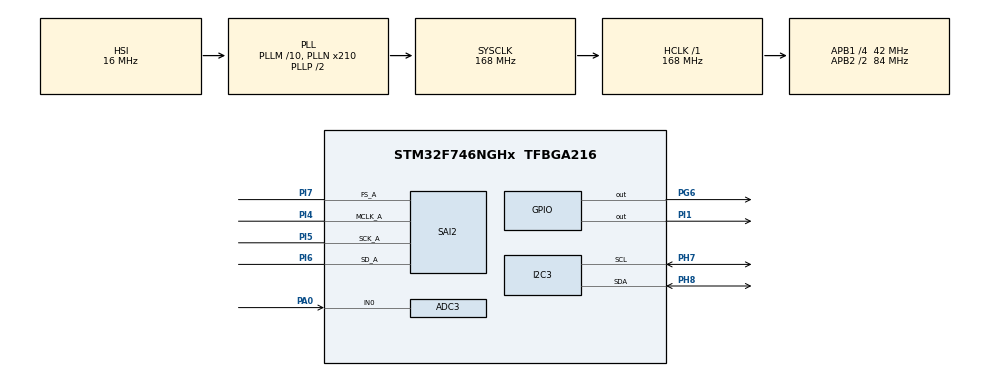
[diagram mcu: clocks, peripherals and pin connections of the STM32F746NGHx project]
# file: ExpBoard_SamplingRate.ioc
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ADC3.Channel-2\#ChannelRegularConversion=ADC_CHANNEL_0
ADC3.ContinuousConvMode=ENABLE
ADC3.DMAContinuousRequests=ENABLE
ADC3.NbrOfConversion=1
ADC3.NbrOfConversionFlag=1
ADC3.Rank-2\#ChannelRegularConversion=1
ADC3.SamplingTime-2\#ChannelRegularConversion=ADC_SAMPLETIME_144CYCLES
ADC3.ScanConvMode=ENABLE
Dma.ADC3.1.Direction=DMA_PERIPH_TO_MEMORY
Dma.ADC3.1.FIFOMode=DMA_FIFOMODE_DISABLE
Dma.ADC3.1.Instance=DMA2_Stream0
Dma.ADC3.1.MemDataAlignment=DMA_MDATAALIGN_BYTE
Dma.ADC3.1.MemInc=DMA_MINC_ENABLE
Dma.ADC3.1.Mode=DMA_CIRCULAR
Dma.ADC3.1.PeriphDataAlignment=DMA_PDATAALIGN_BYTE
Dma.ADC3.1.PeriphInc=DMA_PINC_DISABLE
Dma.ADC3.1.Priority=DMA_PRIORITY_LOW
Dma.Request0=SAI2_A
Dma.Request1=ADC3
Dma.SAI2_A.0.Direction=DMA_PERIPH_TO_MEMORY
Dma.SAI2_A.0.FIFOMode=DMA_FIFOMODE_ENABLE
Dma.SAI2_A.0.FIFOThreshold=DMA_FIFO_THRESHOLD_FULL
Dma.SAI2_A.0.Instance=DMA2_Stream4
Dma.SAI2_A.0.MemBurst=DMA_MBURST_SINGLE
Dma.SAI2_A.0.MemDataAlignment=DMA_MDATAALIGN_WORD
Dma.SAI2_A.0.MemInc=DMA_MINC_ENABLE
Dma.SAI2_A.0.Mode=DMA_CIRCULAR
Dma.SAI2_A.0.PeriphBurst=DMA_PBURST_SINGLE
Dma.SAI2_A.0.PeriphDataAlignment=DMA_PDATAALIGN_WORD
Dma.SAI2_A.0.PeriphInc=DMA_PINC_DISABLE
Dma.SAI2_A.0.Priority=DMA_PRIORITY_HIGH
I2C3.Timing=0x00A0A3F7
Mcu.Family=STM32F7
Mcu.Name=STM32F746NGHx
Mcu.Package=TFBGA216
NVIC.DMA2_Stream0_IRQn=true\:0\:0\:true\:false\:true\:false\:true
NVIC.DMA2_Stream4_IRQn=true\:0\:0\:false\:false\:true\:false\:true
NVIC.I2C3_ER_IRQn=true\:1\:0\:true\:false\:true\:true\:true
NVIC.I2C3_EV_IRQn=true\:1\:0\:true\:false\:true\:true\:true
NVIC.PriorityGroup=NVIC_PRIORITYGROUP_4
NVIC.SAI2_IRQn=true\:0\:0\:true\:false\:true\:true\:true
PA0/WKUP.Signal=ADCx_IN0
PA13.Mode=Serial_Wire
PA13.Signal=SYS_JTMS-SWDIO
PA14.Mode=Serial_Wire
PA14.Signal=SYS_JTCK-SWCLK
PG6.Signal=GPIO_Output
PH7.Mode=I2C
PH7.Signal=I2C3_SCL
PH8.Mode=I2C
PH8.Signal=I2C3_SDA
PI1.Signal=GPIO_Output
PI4.GPIO_Speed=GPIO_SPEED_FREQ_HIGH
PI4.Mode=SAI_A_MasterWithClock
PI4.Signal=SAI2_MCLK_A
PI5.GPIO_Speed=GPIO_SPEED_FREQ_HIGH
PI5.Mode=SAI_A_MasterWithClock
PI5.Signal=SAI2_SCK_A
PI6.GPIO_Speed=GPIO_SPEED_FREQ_HIGH
PI6.Mode=SAI_A_MasterWithClock
PI6.Signal=SAI2_SD_A
PI7.GPIO_Speed=GPIO_SPEED_FREQ_HIGH
PI7.Mode=SAI_A_MasterWithClock
PI7.Signal=SAI2_FS_A
ProjectManager.HeapSize=0x200
ProjectManager.StackSize=0x400
ProjectManager.TargetToolchain=SW4STM32
RCC.AHBFreq_Value=168000000
RCC.APB1CLKDivider=RCC_HCLK_DIV4
RCC.APB1Freq_Value=42000000
RCC.APB1TimFreq_Value=84000000
RCC.APB2CLKDivider=RCC_HCLK_DIV2
RCC.APB2Freq_Value=84000000
RCC.APB2TimFreq_Value=168000000
RCC.CortexFreq_Value=168000000
RCC.HCLKFreq_Value=168000000
RCC.HSE_VALUE=25000000
RCC.HSI_VALUE=16000000
RCC.LSE_VALUE=32768
RCC.PLLM=10
RCC.PLLN=210
RCC.PLLSourceVirtual=RCC_PLLSOURCE_HSI
RCC.SYSCLKFreq_VALUE=168000000
RCC.SYSCLKSource=RCC_SYSCLKSOURCE_PLLCLK
RCC.USBFreq_Value=168000000
RCC.VCOOutputFreq_Value=336000000
SAI2.AudioFrequency-SAI_A_MasterWithClock=SAI_AUDIO_FREQUENCY_44K
SAI2.AudioMode-SAI_A_MasterWithClock=SAI_MODEMASTER_RX
SAI2.BasicProtocol-SAI_A_MasterWithClock=SAI_PCM_SHORT
SAI2.ErrorAudioFreq-SAI_A_MasterWithClock=56.25 %
SAI2.FIFOThreshold-SAI_A_MasterWithClock=SAI_FIFOTHRESHOLD_FULL
SAI2.InitProtocol-SAI_A_MasterWithClock=Enable
SAI2.Instance-SAI_A_MasterWithClock=SAI$Index_Block_A
SAI2.MClockEnable-SAI_A_MasterWithClock=SAI_MASTERCLOCK_ENABLE
SAI2.NoDivider-SAI_A_MasterWithClock=SAI_MASTERDIVIDER_ENABLE
SAI2.RealAudioFreq-SAI_A_MasterWithClock=300.0 KHz
SAI2.VirtualMode-SAI_A_MasterWithClock=VM_MASTER
SAI2.VirtualProtocol-SAI_A_BASIC=VM_BASIC_PROTOCOL
SH.ADCx_IN0.0=ADC3_IN0,IN0
VP_SAI2_VP_$IpInstance_SAIA_SAI_BASIC.Mode=SAI_A_BASIC
board=32F746GDISCOVERY

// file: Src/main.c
/* USER CODE BEGIN Header */
/**
  ******************************************************************************
  * @file           : main.c
  * @brief          : Main program body
  ******************************************************************************
  * @attention
  *
  * <h2><center>&copy; Copyright (c) 2019 STMicroelectronics.
  * All rights reserved.</center></h2>
  *
  * This software component is licensed by ST under BSD 3-Clause license,
  * the "License"; You may not use this file except in compliance with the
  * License. You may obtain a copy of the License at:
  *                        opensource.org/licenses/BSD-3-Clause
  *
  ******************************************************************************
  */
/* USER CODE END Header */

#include "main.h"
#include "adc.h"
#include "dma.h"
#include "gfxsimulator.h"
#include "i2c.h"
#include "sai.h"
#include "gpio.h"

/* USER CODE BEGIN Includes */

#include "stm32746g_discovery.h"
#include "stm32f7xx_hal_i2s.h"
#include "stm32746g_discovery_audio.h";

#define AUDIO_IN_PCM_BUFFER_SIZE                   4*2304 /* buffer size in half-word */

/* USER CODE END Includes */

/* USER CODE BEGIN PV */
typedef enum
{
    BUFFER_OFFSET_NONE = 0,
    BUFFER_OFFSET_HALF = 1,
    BUFFER_OFFSET_FULL = 2,
} BUFFER_StateTypeDef;

#define RECORD_BUFFER_SIZE  4096

SAI_HandleTypeDef haudio_out_sai, haudio_in_sai;

volatile uint32_t  audio_rec_buffer_state;
volatile uint32_t  audio_tx_buffer_state = 0;

/* Buffer containing the PCM samples coming from the microphone */
int16_t RecordBuffer[RECORD_BUFFER_SIZE];

/* Buffer used to stream the recorded PCM samples towards the audio codec. */
int16_t PlaybackBuffer[RECORD_BUFFER_SIZE];

static AUDIO_DrvTypeDef  *audio_drv;

uint8_t audioIsOk;
uint16_t leftSample, rightSample;
static uint16_t pcm_buff[AUDIO_IN_PCM_BUFFER_SIZE];

/* USER CODE END PV */

void SystemClock_Config(void);

/* USER CODE BEGIN 0 */

//static void CopyBuffer(int16_t *pbuffer1, int16_t *pbuffer2, uint16_t BufferSize);

static void CopyBuffer(int16_t *pbuffer1, int16_t *pbuffer2, uint16_t BufferSize);
static uint8_t EBM_AUDIO_IN_OUT_Init(uint32_t AudioFreq);
static uint8_t _BSP_AUDIO_OUT_Play(uint16_t* pBuffer, uint32_t Size);
void get_max_val(int16_t *buf, uint32_t size, int16_t amp[]);
void AUDIO_LOOPBACK(void);
static void SAI_AUDIO_IN_MspInit(SAI_HandleTypeDef *hsai, void *Params);
static void SAIx_In_Init(uint32_t AudioFreq);
static void SAIx_In_DeInit(void);
/* USER CODE END 0 */

int main(void)
{

  /* MCU Configuration--------------------------------------------------------*/

  /* Reset of all peripherals, Initializes the Flash interface and the Systick. */
  HAL_Init();

  /* Configure the system clock */
  SystemClock_Config();

  /* Initialize all configured peripherals */
  MX_GPIO_Init();
  MX_DMA_Init();
  MX_I2C3_Init();
  MX_SAI2_Init();
  MX_GFXSIMULATOR_Init();
  MX_ADC3_Init();
  /* USER CODE BEGIN 2 */

  BSP_AUDIO_IN_Init(BSP_AUDIO_FREQUENCY_44K, DEFAULT_AUDIO_IN_BIT_RESOLUTION, DEFAULT_AUDIO_IN_CHANNEL_NBR);
  audioIsOk = BSP_AUDIO_OUT_Init(OUTPUT_DEVICE_HEADPHONE, 50, BSP_AUDIO_FREQUENCY_44K);

  AUDIO_LOOPBACK();
  //init for the PLL, SAI and WM8994
  //BSP_AUDIO_IN_InitEx(INPUT_DEVICE_INPUT_LINE_1, I2S_AUDIOFREQ_44K, DEFAULT_AUDIO_IN_BIT_RESOLUTION, DEFAULT_AUDIO_IN_CHANNEL_NBR);

  /* USER CODE END 2 */

  /* Infinite loop */
  /* USER CODE BEGIN WHILE */
  while (1)
  {
	  if(audioIsOk == AUDIO_OK){
		 HAL_GPIO_TogglePin(GPIOG, GPIO_PIN_6);
		 HAL_Delay(100);

	  }else{
		  //error happend
		  HAL_GPIO_WritePin(GPIOG, GPIO_PIN_6, GPIO_PIN_SET);

	  }
    /* USER CODE END WHILE */

  }
}

void SystemClock_Config(void)
{
  RCC_OscInitTypeDef RCC_OscInitStruct = {0};
  RCC_ClkInitTypeDef RCC_ClkInitStruct = {0};
  RCC_PeriphCLKInitTypeDef PeriphClkInitStruct = {0};

  /** Configure the main internal regulator output voltage
  */
  __HAL_RCC_PWR_CLK_ENABLE();
  __HAL_PWR_VOLTAGESCALING_CONFIG(PWR_REGULATOR_VOLTAGE_SCALE2);
  /** Initializes the CPU, AHB and APB busses clocks
  */
  RCC_OscInitStruct.OscillatorType = RCC_OSCILLATORTYPE_HSI;
  RCC_OscInitStruct.HSIState = RCC_HSI_ON;
  RCC_OscInitStruct.HSICalibrationValue = RCC_HSICALIBRATION_DEFAULT;
  RCC_OscInitStruct.PLL.PLLState = RCC_PLL_ON;
  RCC_OscInitStruct.PLL.PLLSource = RCC_PLLSOURCE_HSI;
  RCC_OscInitStruct.PLL.PLLM = 10;
  RCC_OscInitStruct.PLL.PLLN = 210;
  RCC_OscInitStruct.PLL.PLLP = RCC_PLLP_DIV2;
  RCC_OscInitStruct.PLL.PLLQ = 2;
  if (HAL_RCC_OscConfig(&RCC_OscInitStruct) != HAL_OK)
  {
    Error_Handler();
  }
  /** Initializes the CPU, AHB and APB busses clocks
  */
  RCC_ClkInitStruct.ClockType = RCC_CLOCKTYPE_HCLK|RCC_CLOCKTYPE_SYSCLK
                              |RCC_CLOCKTYPE_PCLK1|RCC_CLOCKTYPE_PCLK2;
  RCC_ClkInitStruct.SYSCLKSource = RCC_SYSCLKSOURCE_PLLCLK;
  RCC_ClkInitStruct.AHBCLKDivider = RCC_SYSCLK_DIV1;
  RCC_ClkInitStruct.APB1CLKDivider = RCC_HCLK_DIV4;
  RCC_ClkInitStruct.APB2CLKDivider = RCC_HCLK_DIV2;

  if (HAL_RCC_ClockConfig(&RCC_ClkInitStruct, FLASH_LATENCY_5) != HAL_OK)
  {
    Error_Handler();
  }
  PeriphClkInitStruct.PeriphClockSelection = RCC_PERIPHCLK_SAI2|RCC_PERIPHCLK_I2C3;
  PeriphClkInitStruct.PLLSAI.PLLSAIN = 192;
  PeriphClkInitStruct.PLLSAI.PLLSAIR = 2;
  PeriphClkInitStruct.PLLSAI.PLLSAIQ = 2;
  PeriphClkInitStruct.PLLSAI.PLLSAIP = RCC_PLLSAIP_DIV2;
  PeriphClkInitStruct.PLLSAIDivQ = 1;
  PeriphClkInitStruct.PLLSAIDivR = RCC_PLLSAIDIVR_2;
  PeriphClkInitStruct.Sai2ClockSelection = RCC_SAI2CLKSOURCE_PLLSAI;
  PeriphClkInitStruct.I2c3ClockSelection = RCC_I2C3CLKSOURCE_PCLK1;
  if (HAL_RCCEx_PeriphCLKConfig(&PeriphClkInitStruct) != HAL_OK)
  {
    Error_Handler();
  }
}

/* USER CODE BEGIN 4 */

/* ISR Handlers */
void DMA2_Stream4_IRQHandler(void)
{
 HAL_DMA_IRQHandler(haudio_in_sai.hdmarx);
 }

void DMA2_Stream1_IRQHandler(void)
{
 HAL_DMA_IRQHandler(haudio_out_sai.hdmatx);
}

/*
 * get maximum value of the buffer. VU meter, perhaps?
 */
void get_max_val(int16_t *buf, uint32_t size, int16_t amp[])
{
    int16_t maxval[4] = { -32768, -32768, -32768, -32768};
    uint32_t idx;
    for (idx = 0 ; idx < size ; idx += 4) {
        if (buf[idx] > maxval[0])
            maxval[0] = buf[idx];
        if (buf[idx + 1] > maxval[1])
            maxval[1] = buf[idx + 1];
        if (buf[idx + 2] > maxval[2])
            maxval[2] = buf[idx + 2];
        if (buf[idx + 3] > maxval[3])
            maxval[3] = buf[idx + 3];
    }
    memcpy(amp, maxval, sizeof(maxval));
}

void AUDIO_LOOPBACK(void)
     {
         int16_t amp[4];

         /* Initialize Audio Recorder with 4 channels to be used */
         if (EBM_AUDIO_IN_OUT_Init(BSP_AUDIO_FREQUENCY_44K) == AUDIO_OK)
         {
        	 printf("Audio I/O initialization OK\r\n");
         } else {
        	 printf("Audio I/O initialization failed.\r\n");
         }

         /* Start Recording */
         HAL_StatusTypeDef res = HAL_SAI_Receive_DMA(&haudio_in_sai, (uint8_t*)RecordBuffer, RECORD_BUFFER_SIZE);
         if (HAL_OK == res)
         {
        	 printf("SAI receive begin OK\r\n");
         } else {
             printf("SAI receive error: %d\r\n", res);
         }

         printf("Copying Record buffer to Playback buffer\r\n");

         /* Play the recorded buffer */
         if (_BSP_AUDIO_OUT_Play((uint16_t *) &PlaybackBuffer[0], RECORD_BUFFER_SIZE) == AUDIO_OK)
         {
        	 printf("Audio output OK\r\n");
         } else {
        	 printf("Audio output error\r\n");
     	 }
         printf("\r\n");

         audio_rec_buffer_state = BUFFER_OFFSET_NONE;
         while (1)
         {
             /* 1st or 2nd half of the record buffer ready for being copied
             to the Playback buffer */
             if (audio_rec_buffer_state != BUFFER_OFFSET_NONE)
             {
                 /* Copy half of the record buffer to the playback buffer */
                 if (audio_rec_buffer_state == BUFFER_OFFSET_HALF)
                 {
                     get_max_val(RecordBuffer, RECORD_BUFFER_SIZE / 2, amp);
                     CopyBuffer(&PlaybackBuffer[0], &RecordBuffer[0], RECORD_BUFFER_SIZE / 2);
                 } else {
                	 /* if(audio_rec_buffer_state == BUFFER_OFFSET_FULL)*/
                     CopyBuffer(&PlaybackBuffer[RECORD_BUFFER_SIZE / 2],
                    		      &RecordBuffer[RECORD_BUFFER_SIZE / 2],
								                RECORD_BUFFER_SIZE / 2);
                 }
                 /* Wait for next data */
                 audio_rec_buffer_state = BUFFER_OFFSET_NONE;
             }
             if (audio_tx_buffer_state)
             {
                 audio_tx_buffer_state = 0;
             }
         } // end while(1)
     } // end AUDIO_LOOPBACK

static uint8_t EBM_AUDIO_IN_OUT_Init(uint32_t AudioFreq)
     {
         uint8_t ret = AUDIO_ERROR;

         /* Disable SAI */
         SAIx_In_DeInit();

         /* PLL clock is set depending by the AudioFreq (44.1khz vs 48khz groups) */
         BSP_AUDIO_OUT_ClockConfig(&haudio_in_sai, AudioFreq, NULL);
         haudio_out_sai.Instance = AUDIO_OUT_SAIx;
         haudio_in_sai.Instance = AUDIO_IN_SAIx;
         if (HAL_SAI_GetState(&haudio_in_sai) == HAL_SAI_STATE_RESET)
         {
             BSP_AUDIO_OUT_MspInit(&haudio_out_sai, NULL);
             SAI_AUDIO_IN_MspInit(&haudio_in_sai, NULL);
         }

         SAIx_In_Init(AudioFreq); // inclu déja le code de SAIx_Out_Init()

         if ((wm8994_drv.ReadID(AUDIO_I2C_ADDRESS)) == WM8994_ID)
         {
             /* Reset the Codec Registers */
             wm8994_drv.Reset(AUDIO_I2C_ADDRESS);
             /* Initialize the audio driver structure */
             audio_drv = &wm8994_drv;
             ret = AUDIO_OK;
         } else {
             ret = AUDIO_ERROR;
         }

         if (ret == AUDIO_OK)
         {
             /* Initialize the codec internal registers */
             audio_drv->Init(AUDIO_I2C_ADDRESS, INPUT_DEVICE_INPUT_LINE_1 | OUTPUT_DEVICE_HEADPHONE , 100, AudioFreq);
         }

         /* Return AUDIO_OK when all operations are correctly done */
         return ret;
     }

/*
 * Cop the contents of the Record buffer to the
 * Playback buffer
 *
 * If you wanted to hook into the signal and do some
 * signal processing, here is a place where you have
 * both buffers available
 *
 */
static void CopyBuffer(int16_t *pbuffer1, int16_t *pbuffer2, uint16_t BufferSize)
{
    uint32_t i = 0;
    for (i = 0; i < BufferSize; i++)
    {
        pbuffer1[i] = pbuffer2[i];
    }
}

void BSP_AUDIO_OUT_HalfTransfer_CallBack(void)
{
    audio_tx_buffer_state = 1;
}

/**
  * @brief Manages the DMA Transfer complete interrupt.
  * @param None
  * @retval None
  */
void BSP_AUDIO_IN_TransferComplete_CallBack(void)
{
    audio_rec_buffer_state = BUFFER_OFFSET_FULL;
}

/**
  * @brief  Manages the DMA Half Transfer complete interrupt.
  * @param  None
  * @retval None
  */
void BSP_AUDIO_IN_HalfTransfer_CallBack(void)
{
    audio_rec_buffer_state = BUFFER_OFFSET_HALF;
}

/**
  * @brief  Audio IN Error callback function.
  * @param  None
  * @retval None
  */
void BSP_AUDIO_IN_Error_CallBack(void)
{
    /* This function is called when an Interrupt due to transfer error on or peripheral
       error occurs. */
    /* Display message on the LCD screen */
    //BSP_LCD_SetBackColor(LCD_COLOR_RED);
    //BSP_LCD_DisplayStringAt(0, LINE(14), (uint8_t *)"       DMA  ERROR     ", CENTER_MODE);

    /* Stop the program with an infinite loop */

	 /*
    while (BSP_PB_GetState(BUTTON_WAKEUP) != RESET)
    {
        return;
    }
    */

    /* could also generate a system reset to recover from the error */
    /* .... */
}

static uint8_t _BSP_AUDIO_OUT_Play(uint16_t* pBuffer, uint32_t Size)
{
    /* Call the audio Codec Play function */
    if (audio_drv->Play(AUDIO_I2C_ADDRESS, (uint16_t *)pBuffer, Size) != 0)
    {
        return AUDIO_ERROR;
    }
    else
    {
        /* Update the Media layer and enable it for play */
        //if (HAL_SAI_Transmit_DMA(&haudio_out_sai, (uint8_t*) pBuffer, DMA_MAX(Size / AUDIODATA_SIZE)) !=  HAL_OK)
        if (HAL_SAI_Transmit_DMA(&haudio_out_sai, (uint8_t*) pBuffer, Size) !=  HAL_OK)
            return AUDIO_ERROR;
        return AUDIO_OK;
    }
}

/**
 * @brief  Starts playing audio stream from a data buffer for a determined size.
 * @param  pBuffer: Pointer to the buffer
 * @param  Size: Number of audio data BYTES.
 * @retval AUDIO_OK if correct communication, else wrong communication
 */
    static void SAIx_In_Init(uint32_t AudioFreq)
    {
        /* Initialize SAI1 block A in MASTER TX */
        /* Initialize the haudio_out_sai Instance parameter */
        haudio_out_sai.Instance = AUDIO_OUT_SAIx;

        /* Disable SAI peripheral to allow access to SAI internal registers */
        __HAL_SAI_DISABLE(&haudio_out_sai);

        /* Configure SAI_Block_x */
        haudio_out_sai.Init.MonoStereoMode = SAI_STEREOMODE;
        haudio_out_sai.Init.AudioFrequency = AudioFreq;
        haudio_out_sai.Init.AudioMode      = SAI_MODEMASTER_TX;
        haudio_out_sai.Init.NoDivider      = SAI_MASTERDIVIDER_ENABLE;
        haudio_out_sai.Init.Protocol       = SAI_FREE_PROTOCOL;
        haudio_out_sai.Init.DataSize       = SAI_DATASIZE_16;
        haudio_out_sai.Init.FirstBit       = SAI_FIRSTBIT_MSB;
        haudio_out_sai.Init.ClockStrobing  = SAI_CLOCKSTROBING_FALLINGEDGE;
        haudio_out_sai.Init.Synchro        = SAI_ASYNCHRONOUS;
        haudio_out_sai.Init.OutputDrive    = SAI_OUTPUTDRIVE_ENABLE;
        haudio_out_sai.Init.FIFOThreshold  = SAI_FIFOTHRESHOLD_1QF;
        haudio_out_sai.Init.SynchroExt     = SAI_SYNCEXT_DISABLE;
        haudio_out_sai.Init.CompandingMode = SAI_NOCOMPANDING;
        haudio_out_sai.Init.TriState       = SAI_OUTPUT_NOTRELEASED;
        haudio_out_sai.Init.Mckdiv         = 0;

        /* Configure SAI_Block_x Frame */
        haudio_out_sai.FrameInit.FrameLength       = 64;
        haudio_out_sai.FrameInit.ActiveFrameLength = 32;
        haudio_out_sai.FrameInit.FSDefinition      = SAI_FS_CHANNEL_IDENTIFICATION;
        haudio_out_sai.FrameInit.FSPolarity        = SAI_FS_ACTIVE_LOW;
        haudio_out_sai.FrameInit.FSOffset          = SAI_FS_BEFOREFIRSTBIT;

        /* Configure SAI Block_x Slot */
        haudio_out_sai.SlotInit.FirstBitOffset = 0;
        haudio_out_sai.SlotInit.SlotSize       = SAI_SLOTSIZE_DATASIZE;
        haudio_out_sai.SlotInit.SlotNumber     = 4;
        haudio_out_sai.SlotInit.SlotActive     = CODEC_AUDIOFRAME_SLOT_0123;

        HAL_SAI_Init(&haudio_out_sai);

        /* Initialize SAI1 block B in SLAVE RX synchronous from SAI1 block A */
        /* Initialize the haudio_in_sai Instance parameter */
        haudio_in_sai.Instance = AUDIO_IN_SAIx;

        /* Disable SAI peripheral to allow access to SAI internal registers */
        __HAL_SAI_DISABLE(&haudio_in_sai);

        /* Configure SAI_Block_x */
        haudio_in_sai.Init.MonoStereoMode = SAI_STEREOMODE;
        haudio_in_sai.Init.AudioFrequency = AudioFreq;
        haudio_in_sai.Init.AudioMode      = SAI_MODESLAVE_RX;
        haudio_in_sai.Init.NoDivider      = SAI_MASTERDIVIDER_ENABLE;
        haudio_in_sai.Init.Protocol       = SAI_FREE_PROTOCOL;
        haudio_in_sai.Init.DataSize       = SAI_DATASIZE_16;
        haudio_in_sai.Init.FirstBit       = SAI_FIRSTBIT_MSB;
        haudio_in_sai.Init.ClockStrobing  = SAI_CLOCKSTROBING_FALLINGEDGE;
        haudio_in_sai.Init.Synchro        = SAI_SYNCHRONOUS;
        haudio_in_sai.Init.OutputDrive    = SAI_OUTPUTDRIVE_DISABLE;
        haudio_in_sai.Init.FIFOThreshold  = SAI_FIFOTHRESHOLD_1QF;
        haudio_in_sai.Init.SynchroExt     = SAI_SYNCEXT_DISABLE;
        haudio_in_sai.Init.CompandingMode = SAI_NOCOMPANDING;
        haudio_in_sai.Init.TriState       = SAI_OUTPUT_RELEASED;
        haudio_in_sai.Init.Mckdiv         = 0;

        /* Configure SAI_Block_x Frame */
        haudio_in_sai.FrameInit.FrameLength       = 64;
        haudio_in_sai.FrameInit.ActiveFrameLength = 32;
        haudio_in_sai.FrameInit.FSDefinition      = SAI_FS_CHANNEL_IDENTIFICATION;
        haudio_in_sai.FrameInit.FSPolarity        = SAI_FS_ACTIVE_LOW;
        haudio_in_sai.FrameInit.FSOffset          = SAI_FS_BEFOREFIRSTBIT;

        /* Configure SAI Block_x Slot */
        haudio_in_sai.SlotInit.FirstBitOffset = 0;
        haudio_in_sai.SlotInit.SlotSize       = SAI_SLOTSIZE_DATASIZE;
        haudio_in_sai.SlotInit.SlotNumber     = 4;
        haudio_in_sai.SlotInit.SlotActive     = CODEC_AUDIOFRAME_SLOT_0123;

        HAL_SAI_Init(&haudio_in_sai);

        /* Enable SAI peripheral */
        __HAL_SAI_ENABLE(&haudio_in_sai);

        /* Enable SAI peripheral to generate MCLK */
        __HAL_SAI_ENABLE(&haudio_out_sai);
    }

    /**
      * @brief  Deinitializes the output Audio Codec audio interface (SAI).
      * @retval None
      */
    static void SAIx_In_DeInit(void)
    {
        /* Initialize the haudio_in_sai Instance parameter */
        haudio_in_sai.Instance = AUDIO_IN_SAIx;
        haudio_out_sai.Instance = AUDIO_OUT_SAIx;
        /* Disable SAI peripheral */
        __HAL_SAI_DISABLE(&haudio_in_sai);

        HAL_SAI_DeInit(&haudio_in_sai);
        HAL_SAI_DeInit(&haudio_out_sai);
    }

    /**
      * @brief  Initializes SAI Audio IN MSP.
      * @param  hsai: SAI handle
      * @retval None
      */
    static void SAI_AUDIO_IN_MspInit(SAI_HandleTypeDef *hsai, void *Params)
    {
        static DMA_HandleTypeDef hdma_sai_rx;
        GPIO_InitTypeDef  gpio_init_structure;

        /* Enable SAI clock */
        AUDIO_IN_SAIx_CLK_ENABLE();

        /* Enable SD GPIO clock */
        AUDIO_IN_SAIx_SD_ENABLE();
        /* CODEC_SAI pin configuration: SD pin */
        gpio_init_structure.Pin = AUDIO_IN_SAIx_SD_PIN;
        gpio_init_structure.Mode = GPIO_MODE_AF_PP;
        gpio_init_structure.Pull = GPIO_NOPULL;
        gpio_init_structure.Speed = GPIO_SPEED_FAST;
        gpio_init_structure.Alternate = AUDIO_IN_SAIx_SD_AF; //georg changed this
        HAL_GPIO_Init(AUDIO_IN_SAIx_SD_GPIO_PORT, &gpio_init_structure);

        /* Enable Audio INT GPIO clock */
        AUDIO_IN_INT_GPIO_ENABLE();
        /* Audio INT pin configuration: input */
        gpio_init_structure.Pin = AUDIO_IN_INT_GPIO_PIN;
        gpio_init_structure.Mode = GPIO_MODE_INPUT;
        gpio_init_structure.Pull = GPIO_NOPULL;
        gpio_init_structure.Speed = GPIO_SPEED_FAST;
        HAL_GPIO_Init(AUDIO_IN_INT_GPIO_PORT, &gpio_init_structure);

        /* Enable the DMA clock */
        AUDIO_IN_SAIx_DMAx_CLK_ENABLE();

        if (hsai->Instance == AUDIO_IN_SAIx)
        {
            /* Configure the hdma_sai_rx handle parameters */
            hdma_sai_rx.Init.Channel             = AUDIO_IN_SAIx_DMAx_CHANNEL;
            hdma_sai_rx.Init.Direction           = DMA_PERIPH_TO_MEMORY;
            hdma_sai_rx.Init.PeriphInc           = DMA_PINC_DISABLE;
            hdma_sai_rx.Init.MemInc              = DMA_MINC_ENABLE;
            hdma_sai_rx.Init.PeriphDataAlignment = AUDIO_IN_SAIx_DMAx_PERIPH_DATA_SIZE;
            hdma_sai_rx.Init.MemDataAlignment    = AUDIO_IN_SAIx_DMAx_MEM_DATA_SIZE;
            hdma_sai_rx.Init.Mode                = DMA_CIRCULAR;
            hdma_sai_rx.Init.Priority            = DMA_PRIORITY_HIGH;
            hdma_sai_rx.Init.FIFOMode            = DMA_FIFOMODE_DISABLE;
            hdma_sai_rx.Init.FIFOThreshold       = DMA_FIFO_THRESHOLD_FULL;
            hdma_sai_rx.Init.MemBurst            = DMA_MBURST_SINGLE;
            hdma_sai_rx.Init.PeriphBurst         = DMA_MBURST_SINGLE;

            hdma_sai_rx.Instance = AUDIO_IN_SAIx_DMAx_STREAM;

            /* Associate the DMA handle */
            __HAL_LINKDMA(hsai, hdmarx, hdma_sai_rx);

            /* Deinitialize the Stream for new transfer */
            HAL_DMA_DeInit(&hdma_sai_rx);

            /* Configure the DMA Stream */
            HAL_DMA_Init(&hdma_sai_rx);
        }

        /* SAI DMA IRQ Channel configuration */
        HAL_NVIC_SetPriority(AUDIO_IN_SAIx_DMAx_IRQ, AUDIO_IN_IRQ_PREPRIO, 0);
        HAL_NVIC_EnableIRQ(AUDIO_IN_SAIx_DMAx_IRQ);

        /* Audio INT IRQ Channel configuration */
        HAL_NVIC_SetPriority(AUDIO_IN_INT_IRQ, AUDIO_IN_IRQ_PREPRIO, 0);
        HAL_NVIC_EnableIRQ(AUDIO_IN_INT_IRQ);
    }

/* USER CODE END 4 */

void Error_Handler(void)
{
}

/************************ (C) COPYRIGHT STMicroelectronics *****END OF FILE****/
